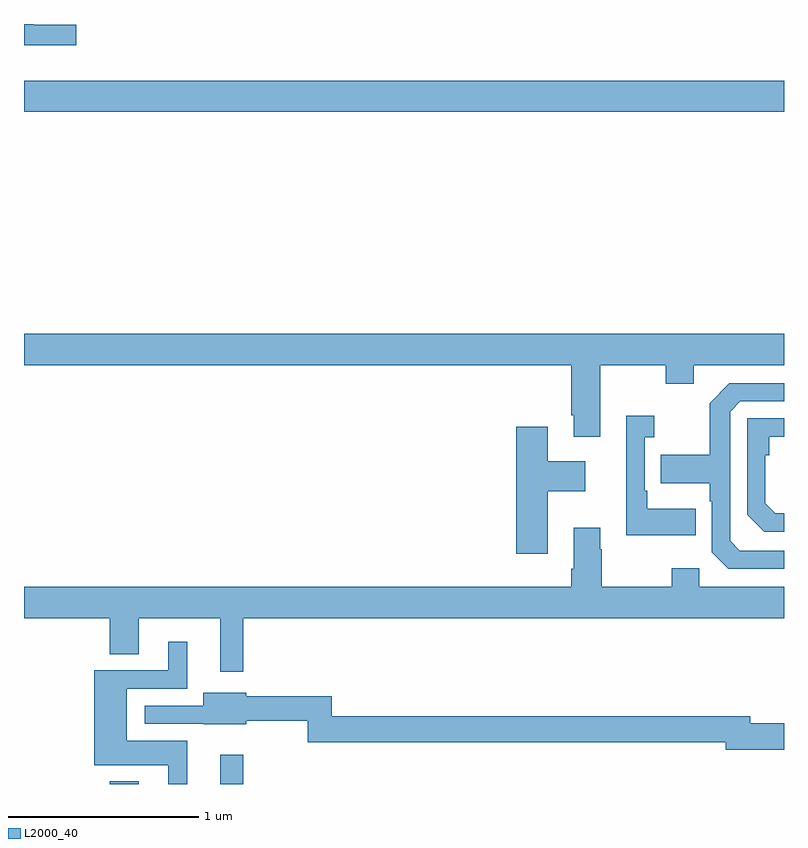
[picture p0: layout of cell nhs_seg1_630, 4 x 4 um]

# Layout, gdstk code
import gdstk
lib = gdstk.Library(unit=1e-6, precision=1e-09)
def R(c, l, rs):  # rectangles x0, y0, x1, y1
    for r in rs: c.add(gdstk.rectangle(r[:2], r[2:], *l))
def P(c, l, *ps):  # polygons
    for p in ps: c.add(gdstk.Polygon(p, *l))
L2000_40 = (2000, 40)

nhs_seg1_630 = lib.new_cell('nhs_seg1_630')
R(nhs_seg1_630, L2000_40, [(145.451,544.199,145.603,544.213), (146.033,544.199,146.155,544.354), (145,547.736,149,547.9)])
P(nhs_seg1_630, L2000_40, [(145.276,548.194),(145.05,548.194),(145.05,548.199),(145,548.199),(145,548.087),(145.276,548.087)],
  [(148.033,546.404),(148.378,546.404),(148.378,546.305),(148.525,546.305),(148.525,546.404),(149,546.404),(149,546.568),(145,546.568),(145,546.404),(147.881,546.404),(147.881,546.139),(147.893,546.139),(147.893,546.027),(148.033,546.027)],
  [(149,545.427),(148.767,545.427),(148.716,545.478),(148.716,546.159),(148.77,546.213),(149,546.213),(149,546.309),(148.713,546.309),(148.608,546.203),(148.608,545.931),(148.351,545.931),(148.351,545.783),(148.608,545.783),(148.608,545.687),(148.62,545.687),(148.62,545.418),(148.707,545.331),(149,545.331)],
  [(148.535,545.647),(148.279,545.647),(148.279,545.743),(148.266,545.743),(148.266,546.023),(148.318,546.023),(148.318,546.136),(148.169,546.136),(148.169,545.507),(148.535,545.507)],
  [(149,545.623),(148.955,545.623),(148.902,545.676),(148.902,545.93),(148.922,545.93),(148.922,546.027),(149,546.027),(149,546.123),(148.806,546.123),(148.806,545.616),(148.896,545.526),(149,545.526)],
  [(147.757,545.741),(147.955,545.741),(147.955,545.899),(147.757,545.899),(147.757,546.079),(147.59,546.079),(147.59,545.412),(147.757,545.412)],
  [(149,545.236),(148.554,545.236),(148.554,545.335),(148.408,545.335),(148.408,545.236),(148.041,545.236),(148.041,545.435),(148.033,545.435),(148.033,545.548),(147.893,545.548),(147.893,545.332),(147.881,545.332),(147.881,545.236),(145,545.236),(145,545.072),(145.451,545.072),(145.451,544.882),(145.603,544.882),(145.603,545.072),(146.033,545.072),(146.033,544.791),(146.155,544.791),(146.155,545.072),(149,545.072)],
  [(145.858,544.426),(145.54,544.426),(145.54,544.701),(145.858,544.701),(145.858,544.948),(145.76,544.948),(145.76,544.797),(145.37,544.797),(145.37,544.298),(145.76,544.298),(145.76,544.199),(145.858,544.199)],
  [(149,544.52),(148.822,544.52),(148.822,544.556),(146.621,544.556),(146.621,544.66),(146.17,544.66),(146.17,544.678),(145.943,544.678),(145.943,544.611),(145.635,544.611),(145.635,544.515),(145.947,544.515),(145.947,544.514),(146.17,544.514),(146.17,544.531),(146.493,544.531),(146.493,544.42),(148.694,544.42),(148.694,544.378),(149,544.378)])

lib.write_gds('nhs_seg1_630.gds')
